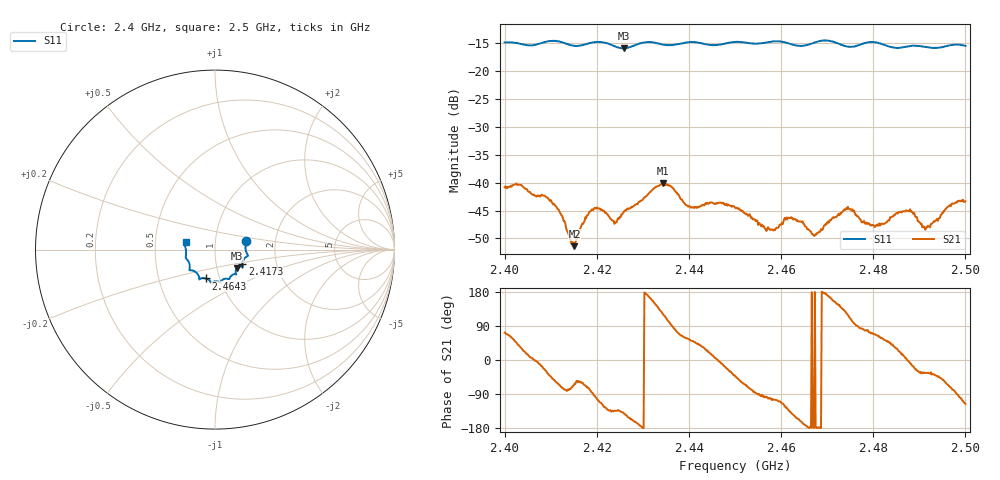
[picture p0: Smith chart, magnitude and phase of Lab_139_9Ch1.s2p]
# Hz S RI R 50
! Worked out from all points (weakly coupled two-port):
!   601 points, 2.4 GHz to 2.5 GHz, reference 50 ohm
!   highest |S21| = -40.13 dB at 2.4343 GHz (marker M1); lowest = -51.4 dB at 2.4152 GHz (marker M2)
!   lowest |S11| = -15.9 dB at 2.4258 GHz (marker M3), VSWR 1.38, Z = 62.3 - j13.3 ohm
!   |S11| at or under -10 dB: start of sweep to end of sweep
!   S12 and S22 are empty: the file has one direction only
!   S11 on the Smith chart (normalised r, x): 2.4 GHz: 1.41, +0.14; 2.4173 GHz: 1.34, -0.23; 2.4643 GHz: 0.86, -0.29; 2.5 GHz: 0.72, +0.06
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2.4e9  0.1738 0.0491  0.0028 0.00867  0 0  0 0
2.409167e9  0.1822 -0.029  0.0062 -0.004  0 0  0 0
2.415167e9  0.1584 -0.0574  0.00122 -0.00241  0 0  0 0
2.416667e9  0.153 -0.0744  0.00213 -0.00352  0 0  0 0
2.417333e9  0.1523 -0.0818  0.00182 -0.00414  0 0  0 0
2.419833e9  0.1544 -0.097  -0.000922 -0.00578  0 0  0 0
2.423833e9  0.1384 -0.0943  -0.00297 -0.00308  0 0  0 0
2.425833e9  0.1219 -0.1038  -0.00416 -0.0035  0 0  0 0
2.433333e9  0.1128 -0.1366  -0.00694 0.00624  0 0  0 0
2.434333e9  0.1066 -0.1363  -0.00515 0.00839  0 0  0 0
2.440333e9  0.0792 -0.1643  0.00379 0.00475  0 0  0 0
2.45e9  0.0291 -0.1805  0.0044 -0.00405  0 0  0 0
2.457167e9  -0.0144 -0.1811  -0.000807 -0.00391  0 0  0 0
2.461167e9  -0.0263 -0.1776  -0.00281 -0.00398  0 0  0 0
2.464333e9  -0.05 -0.1609  -0.00428 -0.00138  0 0  0 0
2.466667e9  -0.076 -0.1596  -0.00347 6.52e-05  0 0  0 0
2.474167e9  -0.0986 -0.1342  -0.00328 0.00491  0 0  0 0
2.479833e9  -0.1426 -0.1138  0.00136 0.00396  0 0  0 0
2.483333e9  -0.1404 -0.0901  0.00312 0.00338  0 0  0 0
2.487667e9  -0.1587 -0.0528  0.00556 -0.000312  0 0  0 0
2.491833e9  -0.1613 -0.0271  0.00343 -0.00227  0 0  0 0
2.5e9  -0.1634 0.042  -0.00295 -0.00614  0 0  0 0
